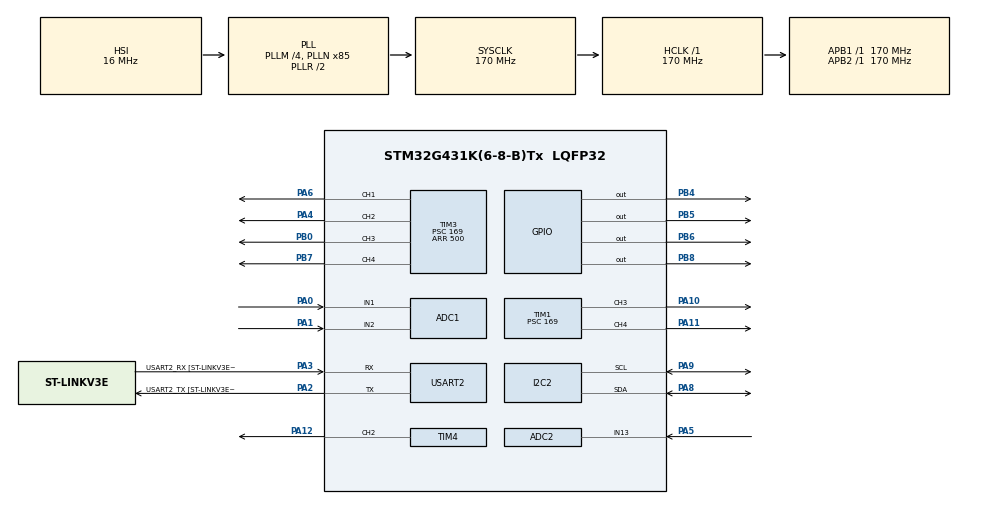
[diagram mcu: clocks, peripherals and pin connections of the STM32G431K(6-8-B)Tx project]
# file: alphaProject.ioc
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ADC1.Channel-0\#ChannelRegularConversion=ADC_CHANNEL_1
ADC1.Channel-1\#ChannelRegularConversion=ADC_CHANNEL_2
ADC1.ContinuousConvMode=DISABLE
ADC1.DiscontinuousConvMode=ENABLE
ADC1.NbrOfConversion=2
ADC1.NbrOfConversionFlag=1
ADC1.NbrOfDiscConversion=2
ADC1.OffsetNumber-0\#ChannelRegularConversion=ADC_OFFSET_NONE
ADC1.OffsetNumber-1\#ChannelRegularConversion=ADC_OFFSET_NONE
ADC1.Rank-0\#ChannelRegularConversion=1
ADC1.Rank-1\#ChannelRegularConversion=2
ADC1.SamplingTime-0\#ChannelRegularConversion=ADC_SAMPLETIME_247CYCLES_5
ADC1.SamplingTime-1\#ChannelRegularConversion=ADC_SAMPLETIME_247CYCLES_5
ADC1.master=1
ADC2.Channel-0\#ChannelRegularConversion=ADC_CHANNEL_13
ADC2.NbrOfConversionFlag=1
ADC2.OffsetNumber-0\#ChannelRegularConversion=ADC_OFFSET_NONE
ADC2.Rank-0\#ChannelRegularConversion=1
ADC2.SamplingTime-0\#ChannelRegularConversion=ADC_SAMPLETIME_2CYCLES_5
I2C2.Timing=0x30A0A7FB
Mcu.Family=STM32G4
Mcu.Name=STM32G431K(6-8-B)Tx
Mcu.Package=LQFP32
NVIC.PriorityGroup=NVIC_PRIORITYGROUP_4
PA0.Mode=IN1-Single-Ended
PA0.Signal=ADC1_IN1
PA1.Mode=IN2-Single-Ended
PA1.Signal=ADC1_IN2
PA10.Signal=S_TIM1_CH3
PA11.Signal=S_TIM1_CH4
PA12.Signal=S_TIM4_CH2
PA13.GPIO_Label=T_SWDIO
PA13.Mode=Serial_Wire
PA13.Signal=SYS_JTMS-SWDIO
PA14.GPIO_Label=T_SWCLK
PA14.Mode=Serial_Wire
PA14.Signal=SYS_JTCK-SWCLK
PA2.GPIO_Label=USART2_TX [ST-LINKV3E_VCP_RX]
PA2.Mode=Asynchronous
PA2.Signal=USART2_TX
PA3.GPIO_Label=USART2_RX [ST-LINKV3E_VCP_TX]
PA3.Mode=Asynchronous
PA3.Signal=USART2_RX
PA4.Signal=S_TIM3_CH2
PA5.Mode=IN13-Single-Ended
PA5.Signal=ADC2_IN13
PA6.Signal=S_TIM3_CH1
PA7.Signal=COMP2_INP
PA8.Mode=I2C
PA8.Signal=I2C2_SDA
PA9.Mode=I2C
PA9.Signal=I2C2_SCL
PB0.Signal=S_TIM3_CH3
PB3.GPIO_Label=T_SWO
PB3.Signal=SYS_JTDO-SWO
PB4.Signal=GPIO_Output
PB5.Signal=GPIO_Output
PB6.Signal=GPIO_Output
PB7.Signal=S_TIM3_CH4
PB8-BOOT0.Signal=GPIO_Output
ProjectManager.HeapSize=0x200
ProjectManager.StackSize=0x400
ProjectManager.TargetToolchain=STM32CubeIDE
RCC.ADC12Freq_Value=170000000
RCC.AHBFreq_Value=170000000
RCC.APB1Freq_Value=170000000
RCC.APB1TimFreq_Value=170000000
RCC.APB2Freq_Value=170000000
RCC.APB2TimFreq_Value=170000000
RCC.CortexFreq_Value=170000000
RCC.EXTERNAL_CLOCK_VALUE=12288000
RCC.HCLKFreq_Value=170000000
RCC.HSE_VALUE=8000000
RCC.HSI48_VALUE=48000000
RCC.HSI_VALUE=16000000
RCC.LSE_VALUE=32768
RCC.PLLM=RCC_PLLM_DIV4
RCC.PLLN=85
RCC.SYSCLKFreq_VALUE=170000000
RCC.SYSCLKSource=RCC_SYSCLKSOURCE_PLLCLK
RCC.USBFreq_Value=170000000
RCC.VCOOutputFreq_Value=340000000
SH.S_TIM1_CH3.0=TIM1_CH3,PWM Generation3 CH3
SH.S_TIM1_CH4.0=TIM1_CH4,PWM Generation4 CH4
SH.S_TIM3_CH1.0=TIM3_CH1,PWM Generation1 CH1
SH.S_TIM3_CH2.0=TIM3_CH2,PWM Generation2 CH2
SH.S_TIM3_CH3.0=TIM3_CH3,PWM Generation3 CH3
SH.S_TIM3_CH4.0=TIM3_CH4,PWM Generation4 CH4
SH.S_TIM4_CH2.0=TIM4_CH2,PWM Generation2 CH2
TIM1.Channel-PWM\ Generation3\ CH3=TIM_CHANNEL_3
TIM1.Channel-PWM\ Generation4\ CH4=TIM_CHANNEL_4
TIM1.PeriodNoDither=19999
TIM1.Prescaler=169
TIM3.Channel-PWM\ Generation1\ CH1=TIM_CHANNEL_1
TIM3.Channel-PWM\ Generation2\ CH2=TIM_CHANNEL_2
TIM3.Channel-PWM\ Generation3\ CH3=TIM_CHANNEL_3
TIM3.Channel-PWM\ Generation4\ CH4=TIM_CHANNEL_4
TIM3.PeriodNoDither=500
TIM3.Prescaler=169
TIM4.Channel-PWM\ Generation2\ CH2=TIM_CHANNEL_2
TIM4.PeriodNoDither=19999
TIM4.Prescaler=169
USART2.VirtualMode-Asynchronous=VM_ASYNC
USART2.WordLength=WORDLENGTH_8B
board=NUCLEO-G431KB

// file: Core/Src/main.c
/* USER CODE BEGIN Header */
/**
  ******************************************************************************
  * @file           : main.c
  * @brief          : Main program body
  ******************************************************************************
  * @attention
  *
  * Copyright (c) 2024 STMicroelectronics.
  * All rights reserved.
  *
  * This software is licensed under terms that can be found in the LICENSE file
  * in the root directory of this software component.
  * If no LICENSE file comes with this software, it is provided AS-IS.
  *
  ******************************************************************************
  */
/* USER CODE END Header */
#include "main.h"

/* USER CODE BEGIN Includes */
#include "sensors.h"
#include "motortest.h"
#include <stdlib.h>

/* USER CODE END Includes */

ADC_HandleTypeDef hadc1;
ADC_HandleTypeDef hadc2;

I2C_HandleTypeDef hi2c2;

TIM_HandleTypeDef htim1;
TIM_HandleTypeDef htim3;
TIM_HandleTypeDef htim4;

UART_HandleTypeDef huart2;

/* USER CODE BEGIN PV */
extern uint16_t clear, red, green, blue, apdsDistance;

/* USER CODE END PV */

void SystemClock_Config(void);
static void MX_GPIO_Init(void);
static void MX_USART2_UART_Init(void);
static void MX_I2C2_Init(void);
static void MX_ADC1_Init(void);
static void MX_ADC2_Init(void);
static void MX_TIM1_Init(void);
static void MX_TIM3_Init(void);
static void MX_TIM4_Init(void);
/* USER CODE BEGIN PFP */

// Possible states for the car to be in.
enum MACHINE_STATES {
	  MOVESIX,
	  READJUST_SIX,
	  SEARCH,
	  FAR_APPROACH,
	  CLOSE_APPROACH,
	  COLOURCHECK,
	  SHIMMY,
	  TEST,
};

enum DRIVE_DIRECTION {
	  STOP,
	  FORWARDS,
	  SLOW_FORWARDS,
	  BACKWARDS,
	  SLOW_BACKWARDS,
};

enum WHEEL_DIRECTION {
	  STRAIGHT,
	  LEFT,
	  RIGHT,
};
/* USER CODE END PFP */

int main(void) {

  /* MCU Configuration--------------------------------------------------------*/

  /* Reset of all peripherals, Initializes the Flash interface and the Systick. */
  HAL_Init();

  /* Configure the system clock */
  SystemClock_Config();

  /* Initialize all configured peripherals */
  MX_GPIO_Init();
  MX_USART2_UART_Init();
  MX_I2C2_Init();
  MX_ADC1_Init();
  MX_ADC2_Init();
  MX_TIM1_Init();
  MX_TIM3_Init();
  MX_TIM4_Init();
  /* USER CODE BEGIN 2 */

  sensorsAdcInit(&hadc1);
  sensorsI2CInit(&hi2c2);
  motorTimInit(&htim3);
  smackInit(&htim4);
  initAPDS(&hi2c2);
  stopMotor();

  HAL_TIM_PWM_Start(&htim4, TIM_CHANNEL_2); //PA12 PA12 PA12 PA12
  HAL_TIM_PWM_Start(&htim3, TIM_CHANNEL_4);

  uint16_t lidarDistance, irLeftDistance, irRightDistance, prevLidarDistance = 0;

  // Preference of which wall to prefer assuming things go wrong.
  enum WALL_STATE{
	L,
	R,
  };

  enum WALL_STATE wall = L;
  enum WALL_STATE snaking_flag = L;

  enum MACHINE_STATES state = MOVESIX;

  uint32_t start_time = HAL_GetTick();
  uint32_t adjust_start_time;
  // Assuming 6 seconds is needed to travel the 6m.
  uint32_t duration_ms = 8000; // 6 seconds
  uint32_t adjust_duration_ms = 100;
  uint32_t turn_time = 0;
  uint32_t max_turn = 800; // max turning time during approach of 0.5s.
  uint32_t forward_time = 0;
  uint32_t forward_time2 = 0;

  int hold_flag = 0;
  int left_ir_flag, right_ir_flag;
  int close_approach_timeout = 0;

  enum DRIVE_DIRECTION prev_move = STOP;
  enum WHEEL_DIRECTION prev_turn = STRAIGHT;

  /* USER CODE END 2 */

  /* Infinite loop */
  /* USER CODE BEGIN WHILE */

//  calibrate();
//  TIM3->CCR4 = percentageToTIM3(100);

  while (1) {
	  // Beginning control loop
	  switch (state) {

	  // Moving 6 metres to approach the starting spot.
	  case MOVESIX:
		  // Checking if 6m worth of time has elapsed.
		  if ((HAL_GetTick() - start_time) > duration_ms) {
			  // Move to next state
			  forward_time = HAL_GetTick();
			  forward_time2 = HAL_GetTick();
			  state = SEARCH;
			  break;
		  }

//		  lidarDistance = getLidarDistance();
//		  // Ensuring:
//		  // 1. There's more than 1s remaining, making sure the lidar doesn't pick up the skittle.
//		  // 2. The lidar sees something within 50cm, presumably (and hopefully) a wall.
//		  if (((HAL_GetTick() - start_time) < (duration_ms - 1000)) && lidarDistance < 100) {
//			  // Adjust
//			  state = READJUST_SIX;
//			  adjust_start_time = HAL_GetTick();
//
//			  move(SLOW_FORWARDS, &prev_move);
//			  break;
//		  }
//
		  // If nothing wrong, ensure moving forwards
		  move(FORWARDS, &prev_move);

		  if (wall == L) {
			  turn(LEFT, &prev_turn);
			  HAL_Delay(120);
			  turn(RIGHT, &prev_turn);
			  HAL_Delay(80);
		  } else {
			  turn(RIGHT, &prev_turn);
			  HAL_Delay(80);
			  turn(LEFT, &prev_turn);
			  HAL_Delay(120);
		  }

		  break;

	  // Readjusting the initial 6m approach.
	  case READJUST_SIX:

		  // Ternary statements stop the IR sensors from reporting 0, and change those 0s to 999.
		  // The IR sensors still seem to fire off random readings at further distances, implementing some
		  // sort of averaging would be good.
		  // LEFT AND RIGHT ARE THE WRONG WAY ROUND.
		  irLeftDistance = getIrLeftDistance();
		  irRightDistance = getIrRightDistance();

		  if (irLeftDistance > irRightDistance) {
			  turn(RIGHT, &prev_turn);
		  }

		  else if (irLeftDistance < irRightDistance){
			  turn(LEFT, &prev_turn);
		  }

		  else{
			  // Something is up / IRs not in range
			  turn(STRAIGHT, &prev_turn);
		  }

		  while ((HAL_GetTick() - adjust_start_time) < adjust_duration_ms) {}

		  // Update forward duration with the readjustment
		  // duration_ms = duration_ms + adjust_duration_ms;

		  turn(STRAIGHT, &prev_turn);
		  state = MOVESIX;
		  break;

	  // Looking for the skittles. Following a curve to hopefully find them.
	  case SEARCH:
		  lidarDistance = getLidarDistance();

		  if (lidarDistance < 220) {
			  state = FAR_APPROACH;
			  turn(STRAIGHT, &prev_turn);
			  move(STOP, &prev_move);

			  turn_time = HAL_GetTick();

			  break;
		  }

		  if ((HAL_GetTick() - forward_time) < 2000) {
			  // Moving forward first
			  move(SLOW_FORWARDS, &prev_move);
			  if (wall == L) {
				  if ((HAL_GetTick() - forward_time2) < 120) {
					  turn(LEFT, &prev_turn);
				  } else if ((HAL_GetTick() - forward_time2) < 200){
					  turn(RIGHT, &prev_turn);
				  } else { forward_time2 = HAL_GetTick();}
			  } else {
				  if ((HAL_GetTick() - forward_time2) < 80) {
					  turn(RIGHT, &prev_turn);
				  } else if ((HAL_GetTick() - forward_time2) < 200){
					  turn(LEFT, &prev_turn);
				  } else { forward_time2 = HAL_GetTick();}
			  }

		  } else {
			  // if nothing in view (taking into account the side we're on)
			  if (wall == L) {
				  turn(RIGHT, &prev_turn);
				  move(SLOW_FORWARDS, &prev_move);
			  } else {
				  turn(LEFT, &prev_turn);
				  move(SLOW_FORWARDS, &prev_move);
			  }
		  }
		  break;

	  // Basic method to approach the skittle.
	  // Potential upgrades needed to ensure car doesn't veer off.
	  case FAR_APPROACH:
		  lidarDistance = getLidarDistance();

		  // When the skittle is close enough.
		  if (lidarDistance < 40) {
			  state = CLOSE_APPROACH;
			  turn(STRAIGHT, &prev_turn);
			  move(STOP, &prev_move);
			  forward_time2 = HAL_GetTick();

			  // Resetting state.
			  hold_flag = 0;
			  prevLidarDistance = 0;
			  turn_time = 0;
			  break;
		  }

		  // Checking that it hasn't been turning for too long
		  if ((HAL_GetTick() - turn_time) > max_turn) {
			  snaking_flag = 1 - snaking_flag;
			  turn_time = HAL_GetTick();
		  }

		  // Ensuring no break
		  if (prevLidarDistance == 0) {prevLidarDistance = lidarDistance;}

		  // A short check to ensure the object hasn't been lost / things move too fast.
		  if (lidarDistance < prevLidarDistance) {prevLidarDistance = lidarDistance;}

		  // Starting snaking
		  if (snaking_flag == L){
//			  TIM3->CCR4 = percentageToTIM3(0);
			  // Checking to see if the snaking has passed the left side of skittle.
			  if (abs(prevLidarDistance - lidarDistance) > 15) {
				  if (!hold_flag) {
					  // Car has passed the skittle.
					  hold_flag = 1;
					  snaking_flag = R;
					  turn_time = HAL_GetTick();
//					  TIM3->CCR4 = percentageToTIM3(0);
				  }
			  } else {
				  if (hold_flag) {
					  // Car is back on track
					  hold_flag = 0;
//					  TIM3->CCR4 = percentageToTIM3(100);
				  }
				  // Update previous distance only if not holding.
				  // This keeps a memory of the last skittle location
				  prevLidarDistance = hold_flag ? prevLidarDistance : lidarDistance;
			  }

			  turn(LEFT, &prev_turn);
			  move(SLOW_FORWARDS, &prev_move);

		  } else {
//			  TIM3->CCR4 = percentageToTIM3(100);
			  // Checking to see if the snaking has passed the left side of skittle.
			  if (abs(prevLidarDistance - lidarDistance) > 15) {
				  if (!hold_flag) {
					  // Car has passed the skittle.
					  hold_flag = 1;
					  snaking_flag = L;
					  turn_time = HAL_GetTick();
//					  TIM3->CCR4 = percentageToTIM3(0);
				  }
			  } else {
				  if (hold_flag) {
					  // Car is back on track
					  hold_flag = 0;
//					  TIM3->CCR4 = percentageToTIM3(100);
				  }
				  // Update previous distance only if not holding.
				  // This keeps a memory of the last skittle location
				  prevLidarDistance = hold_flag ? prevLidarDistance : lidarDistance;
			  }

			  turn(RIGHT, &prev_turn);
			  move(SLOW_FORWARDS, &prev_move);
		  }

		  break;

	  // Approach using the ir sensors to help out as well.
	  // REMINDER LEFT AND RIGHT ARE WRONG WAY ROUND.
	  case CLOSE_APPROACH:

		  lidarDistance = getLidarDistance();

		  // When the skittle is close enough.
		  if (lidarDistance < 10) {
			  refreshAPDSData();
			  if (apdsDistance > 8){
				  state = COLOURCHECK;
				  turn(STRAIGHT, &prev_turn);
				  move(STOP, &prev_move);
				  break;
			  }
		  }

		  move(SLOW_FORWARDS, &prev_move);

		  irLeftDistance = getIrLeftDistance();
		  irRightDistance = getIrRightDistance();

		  left_ir_flag = (irLeftDistance < 110) ? 1 : 0;
		  right_ir_flag = (irRightDistance  < 110) ? 1 : 0;

		  // remember they are opposite.
		  if (left_ir_flag && !right_ir_flag) {
			  if (close_approach_timeout++ == 3) {
				  close_approach_timeout = 0;
				  // Mitiagation as slight right drift.
				  turn(LEFT, &prev_turn);
			  } else {turn(RIGHT, &prev_turn);}
		  }
		  else if (!left_ir_flag && right_ir_flag) {turn(LEFT, &prev_turn);}
		  else {
			  if (wall == L) {
				  if ((HAL_GetTick() - forward_time2) < 120) {
					  turn(LEFT, &prev_turn);
				  } else if ((HAL_GetTick() - forward_time2) < 200){
					  turn(RIGHT, &prev_turn);
				  } else { forward_time2 = HAL_GetTick();}
			  } else {
				  if ((HAL_GetTick() - forward_time2) < 80) {
					  turn(RIGHT, &prev_turn);
				  } else if ((HAL_GetTick() - forward_time2) < 200){
					  turn(LEFT, &prev_turn);
				  } else { forward_time2 = HAL_GetTick();}
			  }
		  }
	  	  break;

	  // Checking colour of object in front of car and moving to appropriate state.
	  // No method of verifying there is something in front of the car (except maybe with the apds?)
	  case COLOURCHECK:
		  TIM3->CCR4 = percentageToTIM3(100);
		  HAL_Delay(500);

		  // Check colour data
		  refreshAPDSData();

		  if ((red < 200) && (green < 100) && (blue < 100)) {smack();}

		  TIM3->CCR4 = percentageToTIM3(0);
		  state = SHIMMY;

		  break;

	  // A three-point-turn manoeuvre that hopefully gets the car out of stuck spots /.
	  // away from white skittles.
	  case SHIMMY:

		  if (wall == L) {
			  // Means the right wall has just been hit
			  turn(RIGHT, &prev_turn);
			  HAL_Delay(200);
			  move(BACKWARDS, &prev_move);
		  } else {
			  // Same but for left wall
			  turn(LEFT, &prev_turn);
			  HAL_Delay(200);
			  move(BACKWARDS, &prev_move);
		  }

		  HAL_Delay(2600);

		  move(STOP, &prev_move);
		  turn(STRAIGHT, &prev_turn);

		  // Switching sides
		  wall = 1 - wall;
		  state = SEARCH;
		  break;

	  case TEST:
		  TIM3->CCR4 = percentageToTIM3(100);
		  break;

	  }
  }
}
    /* USER CODE END WHILE */

    /* USER CODE BEGIN 3 */
// Checks previous and issued command, to not have constant sending of turning commands.
void turn(enum WHEEL_DIRECTION turn_dir, enum WHEEL_DIRECTION *prev_turn) {
    if (*prev_turn != turn_dir) {
        *prev_turn = turn_dir;

        switch (turn_dir) {
        case LEFT:
        	turnLeft();
        	break;
        case RIGHT:
        	turnRight();
        	break;
        case STRAIGHT:
        	straighten();
        	break;
        }
    }
}

// As above but for movement.
void move(enum DRIVE_DIRECTION move_dir, enum DRIVE_DIRECTION *prev_move) {
	if (*prev_move != move_dir) {
		*prev_move = move_dir;
		switch(move_dir) {
		case STOP:
			stopMotor();
			break;
		case FORWARDS:
			// 9V: 55
			moveForwards(60);
			break;
		case SLOW_FORWARDS:
			// 9V: 45
			moveForwards(50);
			break;
		case BACKWARDS:
			moveBackwards(55);
			break;
		case SLOW_BACKWARDS:
			moveBackwards(45);
			break;
		}
	}
}
  /* USER CODE END 3 */

void SystemClock_Config(void)
{
  RCC_OscInitTypeDef RCC_OscInitStruct = {0};
  RCC_ClkInitTypeDef RCC_ClkInitStruct = {0};

  /** Configure the main internal regulator output voltage
  */
  HAL_PWREx_ControlVoltageScaling(PWR_REGULATOR_VOLTAGE_SCALE1_BOOST);

  /** Initializes the RCC Oscillators according to the specified parameters
  * in the RCC_OscInitTypeDef structure.
  */
  RCC_OscInitStruct.OscillatorType = RCC_OSCILLATORTYPE_HSI;
  RCC_OscInitStruct.HSIState = RCC_HSI_ON;
  RCC_OscInitStruct.HSICalibrationValue = RCC_HSICALIBRATION_DEFAULT;
  RCC_OscInitStruct.PLL.PLLState = RCC_PLL_ON;
  RCC_OscInitStruct.PLL.PLLSource = RCC_PLLSOURCE_HSI;
  RCC_OscInitStruct.PLL.PLLM = RCC_PLLM_DIV4;
  RCC_OscInitStruct.PLL.PLLN = 85;
  RCC_OscInitStruct.PLL.PLLP = RCC_PLLP_DIV2;
  RCC_OscInitStruct.PLL.PLLQ = RCC_PLLQ_DIV2;
  RCC_OscInitStruct.PLL.PLLR = RCC_PLLR_DIV2;
  if (HAL_RCC_OscConfig(&RCC_OscInitStruct) != HAL_OK)
  {
    Error_Handler();
  }

  /** Initializes the CPU, AHB and APB buses clocks
  */
  RCC_ClkInitStruct.ClockType = RCC_CLOCKTYPE_HCLK|RCC_CLOCKTYPE_SYSCLK
                              |RCC_CLOCKTYPE_PCLK1|RCC_CLOCKTYPE_PCLK2;
  RCC_ClkInitStruct.SYSCLKSource = RCC_SYSCLKSOURCE_PLLCLK;
  RCC_ClkInitStruct.AHBCLKDivider = RCC_SYSCLK_DIV1;
  RCC_ClkInitStruct.APB1CLKDivider = RCC_HCLK_DIV1;
  RCC_ClkInitStruct.APB2CLKDivider = RCC_HCLK_DIV1;

  if (HAL_RCC_ClockConfig(&RCC_ClkInitStruct, FLASH_LATENCY_4) != HAL_OK)
  {
    Error_Handler();
  }
}

static void MX_ADC1_Init(void)
{

  ADC_MultiModeTypeDef multimode = {0};
  ADC_ChannelConfTypeDef sConfig = {0};

  /** Common config
  */
  hadc1.Instance = ADC1;
  hadc1.Init.ClockPrescaler = ADC_CLOCK_SYNC_PCLK_DIV4;
  hadc1.Init.Resolution = ADC_RESOLUTION_12B;
  hadc1.Init.DataAlign = ADC_DATAALIGN_RIGHT;
  hadc1.Init.GainCompensation = 0;
  hadc1.Init.ScanConvMode = ADC_SCAN_ENABLE;
  hadc1.Init.EOCSelection = ADC_EOC_SINGLE_CONV;
  hadc1.Init.LowPowerAutoWait = DISABLE;
  hadc1.Init.ContinuousConvMode = DISABLE;
  hadc1.Init.NbrOfConversion = 2;
  hadc1.Init.DiscontinuousConvMode = ENABLE;
  hadc1.Init.NbrOfDiscConversion = 2;
  hadc1.Init.ExternalTrigConv = ADC_SOFTWARE_START;
  hadc1.Init.ExternalTrigConvEdge = ADC_EXTERNALTRIGCONVEDGE_NONE;
  hadc1.Init.DMAContinuousRequests = DISABLE;
  hadc1.Init.Overrun = ADC_OVR_DATA_PRESERVED;
  hadc1.Init.OversamplingMode = DISABLE;
  if (HAL_ADC_Init(&hadc1) != HAL_OK)
  {
    Error_Handler();
  }

  /** Configure the ADC multi-mode
  */
  multimode.Mode = ADC_MODE_INDEPENDENT;
  if (HAL_ADCEx_MultiModeConfigChannel(&hadc1, &multimode) != HAL_OK)
  {
    Error_Handler();
  }

  /** Configure Regular Channel
  */
  sConfig.Channel = ADC_CHANNEL_1;
  sConfig.Rank = ADC_REGULAR_RANK_1;
  sConfig.SamplingTime = ADC_SAMPLETIME_247CYCLES_5;
  sConfig.SingleDiff = ADC_SINGLE_ENDED;
  sConfig.OffsetNumber = ADC_OFFSET_NONE;
  sConfig.Offset = 0;
  if (HAL_ADC_ConfigChannel(&hadc1, &sConfig) != HAL_OK)
  {
    Error_Handler();
  }

  /** Configure Regular Channel
  */
  sConfig.Channel = ADC_CHANNEL_2;
  sConfig.Rank = ADC_REGULAR_RANK_2;
  if (HAL_ADC_ConfigChannel(&hadc1, &sConfig) != HAL_OK)
  {
    Error_Handler();
  }

}

static void MX_ADC2_Init(void)
{

  ADC_ChannelConfTypeDef sConfig = {0};

  /** Common config
  */
  hadc2.Instance = ADC2;
  hadc2.Init.ClockPrescaler = ADC_CLOCK_SYNC_PCLK_DIV4;
  hadc2.Init.Resolution = ADC_RESOLUTION_12B;
  hadc2.Init.DataAlign = ADC_DATAALIGN_RIGHT;
  hadc2.Init.GainCompensation = 0;
  hadc2.Init.ScanConvMode = ADC_SCAN_DISABLE;
  hadc2.Init.EOCSelection = ADC_EOC_SINGLE_CONV;
  hadc2.Init.LowPowerAutoWait = DISABLE;
  hadc2.Init.ContinuousConvMode = DISABLE;
  hadc2.Init.NbrOfConversion = 1;
  hadc2.Init.DiscontinuousConvMode = DISABLE;
  hadc2.Init.ExternalTrigConv = ADC_SOFTWARE_START;
  hadc2.Init.ExternalTrigConvEdge = ADC_EXTERNALTRIGCONVEDGE_NONE;
  hadc2.Init.DMAContinuousRequests = DISABLE;
  hadc2.Init.Overrun = ADC_OVR_DATA_PRESERVED;
  hadc2.Init.OversamplingMode = DISABLE;
  if (HAL_ADC_Init(&hadc2) != HAL_OK)
  {
    Error_Handler();
  }

  /** Configure Regular Channel
  */
  sConfig.Channel = ADC_CHANNEL_13;
  sConfig.Rank = ADC_REGULAR_RANK_1;
  sConfig.SamplingTime = ADC_SAMPLETIME_2CYCLES_5;
  sConfig.SingleDiff = ADC_SINGLE_ENDED;
  sConfig.OffsetNumber = ADC_OFFSET_NONE;
  sConfig.Offset = 0;
  if (HAL_ADC_ConfigChannel(&hadc2, &sConfig) != HAL_OK)
  {
    Error_Handler();
  }

}

static void MX_I2C2_Init(void)
{

  hi2c2.Instance = I2C2;
  hi2c2.Init.Timing = 0x30A0A7FB;
  hi2c2.Init.OwnAddress1 = 0;
  hi2c2.Init.AddressingMode = I2C_ADDRESSINGMODE_7BIT;
  hi2c2.Init.DualAddressMode = I2C_DUALADDRESS_DISABLE;
  hi2c2.Init.OwnAddress2 = 0;
  hi2c2.Init.OwnAddress2Masks = I2C_OA2_NOMASK;
  hi2c2.Init.GeneralCallMode = I2C_GENERALCALL_DISABLE;
  hi2c2.Init.NoStretchMode = I2C_NOSTRETCH_DISABLE;
  if (HAL_I2C_Init(&hi2c2) != HAL_OK)
  {
    Error_Handler();
  }

  /** Configure Analogue filter
  */
  if (HAL_I2CEx_ConfigAnalogFilter(&hi2c2, I2C_ANALOGFILTER_ENABLE) != HAL_OK)
  {
    Error_Handler();
  }

  /** Configure Digital filter
  */
  if (HAL_I2CEx_ConfigDigitalFilter(&hi2c2, 0) != HAL_OK)
  {
    Error_Handler();
  }

}

static void MX_TIM1_Init(void)
{

  TIM_MasterConfigTypeDef sMasterConfig = {0};
  TIM_OC_InitTypeDef sConfigOC = {0};
  TIM_BreakDeadTimeConfigTypeDef sBreakDeadTimeConfig = {0};

  htim1.Instance = TIM1;
  htim1.Init.Prescaler = 169;
  htim1.Init.CounterMode = TIM_COUNTERMODE_UP;
  htim1.Init.Period = 19999;
  htim1.Init.ClockDivision = TIM_CLOCKDIVISION_DIV1;
  htim1.Init.RepetitionCounter = 0;
  htim1.Init.AutoReloadPreload = TIM_AUTORELOAD_PRELOAD_DISABLE;
  if (HAL_TIM_PWM_Init(&htim1) != HAL_OK)
  {
    Error_Handler();
  }
  sMasterConfig.MasterOutputTrigger = TIM_TRGO_RESET;
  sMasterConfig.MasterOutputTrigger2 = TIM_TRGO2_RESET;
  sMasterConfig.MasterSlaveMode = TIM_MASTERSLAVEMODE_DISABLE;
  if (HAL_TIMEx_MasterConfigSynchronization(&htim1, &sMasterConfig) != HAL_OK)
  {
    Error_Handler();
  }
  sConfigOC.OCMode = TIM_OCMODE_PWM1;
  sConfigOC.Pulse = 0;
  sConfigOC.OCPolarity = TIM_OCPOLARITY_HIGH;
  sConfigOC.OCNPolarity = TIM_OCNPOLARITY_HIGH;
  sConfigOC.OCFastMode = TIM_OCFAST_DISABLE;
  sConfigOC.OCIdleState = TIM_OCIDLESTATE_RESET;
  sConfigOC.OCNIdleState = TIM_OCNIDLESTATE_RESET;
  if (HAL_TIM_PWM_ConfigChannel(&htim1, &sConfigOC, TIM_CHANNEL_3) != HAL_OK)
  {
    Error_Handler();
  }
  if (HAL_TIM_PWM_ConfigChannel(&htim1, &sConfigOC, TIM_CHANNEL_4) != HAL_OK)
  {
    Error_Handler();
  }
  sBreakDeadTimeConfig.OffStateRunMode = TIM_OSSR_DISABLE;
  sBreakDeadTimeConfig.OffStateIDLEMode = TIM_OSSI_DISABLE;
  sBreakDeadTimeConfig.LockLevel = TIM_LOCKLEVEL_OFF;
  sBreakDeadTimeConfig.DeadTime = 0;
  sBreakDeadTimeConfig.BreakState = TIM_BREAK_DISABLE;
  sBreakDeadTimeConfig.BreakPolarity = TIM_BREAKPOLARITY_HIGH;
  sBreakDeadTimeConfig.BreakFilter = 0;
  sBreakDeadTimeConfig.BreakAFMode = TIM_BREAK_AFMODE_INPUT;
  sBreakDeadTimeConfig.Break2State = TIM_BREAK2_DISABLE;
  sBreakDeadTimeConfig.Break2Polarity = TIM_BREAK2POLARITY_HIGH;
  sBreakDeadTimeConfig.Break2Filter = 0;
  sBreakDeadTimeConfig.Break2AFMode = TIM_BREAK_AFMODE_INPUT;
  sBreakDeadTimeConfig.AutomaticOutput = TIM_AUTOMATICOUTPUT_DISABLE;
  if (HAL_TIMEx_ConfigBreakDeadTime(&htim1, &sBreakDeadTimeConfig) != HAL_OK)
  {
    Error_Handler();
  }
  HAL_TIM_MspPostInit(&htim1);

}

static void MX_TIM3_Init(void)
{

  TIM_MasterConfigTypeDef sMasterConfig = {0};
  TIM_OC_InitTypeDef sConfigOC = {0};

  htim3.Instance = TIM3;
  htim3.Init.Prescaler = 169;
  htim3.Init.CounterMode = TIM_COUNTERMODE_UP;
  htim3.Init.Period = 1000;
  htim3.Init.ClockDivision = TIM_CLOCKDIVISION_DIV1;
  htim3.Init.AutoReloadPreload = TIM_AUTORELOAD_PRELOAD_DISABLE;
  if (HAL_TIM_PWM_Init(&htim3) != HAL_OK)
  {
    Error_Handler();
  }
  sMasterConfig.MasterOutputTrigger = TIM_TRGO_RESET;
  sMasterConfig.MasterSlaveMode = TIM_MASTERSLAVEMODE_DISABLE;
  if (HAL_TIMEx_MasterConfigSynchronization(&htim3, &sMasterConfig) != HAL_OK)
  {
    Error_Handler();
  }
  sConfigOC.OCMode = TIM_OCMODE_PWM1;
  sConfigOC.Pulse = 0;
  sConfigOC.OCPolarity = TIM_OCPOLARITY_HIGH;
  sConfigOC.OCFastMode = TIM_OCFAST_DISABLE;
  if (HAL_TIM_PWM_ConfigChannel(&htim3, &sConfigOC, TIM_CHANNEL_1) != HAL_OK)
  {
    Error_Handler();
  }
  if (HAL_TIM_PWM_ConfigChannel(&htim3, &sConfigOC, TIM_CHANNEL_2) != HAL_OK)
  {
    Error_Handler();
  }
  if (HAL_TIM_PWM_ConfigChannel(&htim3, &sConfigOC, TIM_CHANNEL_3) != HAL_OK)
  {
    Error_Handler();
  }
  if (HAL_TIM_PWM_ConfigChannel(&htim3, &sConfigOC, TIM_CHANNEL_4) != HAL_OK)
  {
    Error_Handler();
  }
  HAL_TIM_MspPostInit(&htim3);

}

static void MX_TIM4_Init(void)
{

  TIM_MasterConfigTypeDef sMasterConfig = {0};
  TIM_OC_InitTypeDef sConfigOC = {0};

  htim4.Instance = TIM4;
  htim4.Init.Prescaler = 169;
  htim4.Init.CounterMode = TIM_COUNTERMODE_UP;
  htim4.Init.Period = 19999;
  htim4.Init.ClockDivision = TIM_CLOCKDIVISION_DIV1;
  htim4.Init.AutoReloadPreload = TIM_AUTORELOAD_PRELOAD_DISABLE;
  if (HAL_TIM_PWM_Init(&htim4) != HAL_OK)
  {
    Error_Handler();
  }
  sMasterConfig.MasterOutputTrigger = TIM_TRGO_RESET;
  sMasterConfig.MasterSlaveMode = TIM_MASTERSLAVEMODE_DISABLE;
  if (HAL_TIMEx_MasterConfigSynchronization(&htim4, &sMasterConfig) != HAL_OK)
  {
    Error_Handler();
  }
  sConfigOC.OCMode = TIM_OCMODE_PWM1;
  sConfigOC.Pulse = 0;
  sConfigOC.OCPolarity = TIM_OCPOLARITY_HIGH;
  sConfigOC.OCFastMode = TIM_OCFAST_DISABLE;
  if (HAL_TIM_PWM_ConfigChannel(&htim4, &sConfigOC, TIM_CHANNEL_2) != HAL_OK)
  {
    Error_Handler();
  }
  HAL_TIM_MspPostInit(&htim4);

}

static void MX_USART2_UART_Init(void)
{

  huart2.Instance = USART2;
  huart2.Init.BaudRate = 115200;
  huart2.Init.WordLength = UART_WORDLENGTH_8B;
  huart2.Init.StopBits = UART_STOPBITS_1;
  huart2.Init.Parity = UART_PARITY_NONE;
  huart2.Init.Mode = UART_MODE_TX_RX;
  huart2.Init.HwFlowCtl = UART_HWCONTROL_NONE;
  huart2.Init.OverSampling = UART_OVERSAMPLING_16;
  huart2.Init.OneBitSampling = UART_ONE_BIT_SAMPLE_DISABLE;
  huart2.Init.ClockPrescaler = UART_PRESCALER_DIV1;
  huart2.AdvancedInit.AdvFeatureInit = UART_ADVFEATURE_NO_INIT;
  if (HAL_UART_Init(&huart2) != HAL_OK)
  {
    Error_Handler();
  }
  if (HAL_UARTEx_SetTxFifoThreshold(&huart2, UART_TXFIFO_THRESHOLD_1_8) != HAL_OK)
  {
    Error_Handler();
  }
  if (HAL_UARTEx_SetRxFifoThreshold(&huart2, UART_RXFIFO_THRESHOLD_1_8) != HAL_OK)
  {
    Error_Handler();
  }
  if (HAL_UARTEx_DisableFifoMode(&huart2) != HAL_OK)
  {
    Error_Handler();
  }

}

static void MX_GPIO_Init(void)
{
  GPIO_InitTypeDef GPIO_InitStruct = {0};

  /* GPIO Ports Clock Enable */
  __HAL_RCC_GPIOA_CLK_ENABLE();
  __HAL_RCC_GPIOB_CLK_ENABLE();

  /*Configure GPIO pin Output Level */
  HAL_GPIO_WritePin(GPIOB, GPIO_PIN_4|GPIO_PIN_5|GPIO_PIN_6|GPIO_PIN_8, GPIO_PIN_RESET);

  /*Configure GPIO pin : PA7 */
  GPIO_InitStruct.Pin = GPIO_PIN_7;
  GPIO_InitStruct.Mode = GPIO_MODE_ANALOG;
  GPIO_InitStruct.Pull = GPIO_NOPULL;
  HAL_GPIO_Init(GPIOA, &GPIO_InitStruct);

  /*Configure GPIO pins : PB4 PB5 PB6 PB8 */
  GPIO_InitStruct.Pin = GPIO_PIN_4|GPIO_PIN_5|GPIO_PIN_6|GPIO_PIN_8;
  GPIO_InitStruct.Mode = GPIO_MODE_OUTPUT_PP;
  GPIO_InitStruct.Pull = GPIO_NOPULL;
  GPIO_InitStruct.Speed = GPIO_SPEED_FREQ_LOW;
  HAL_GPIO_Init(GPIOB, &GPIO_InitStruct);

}

void Error_Handler(void)
{
  __disable_irq();
  while (1)
  {
  }
}
